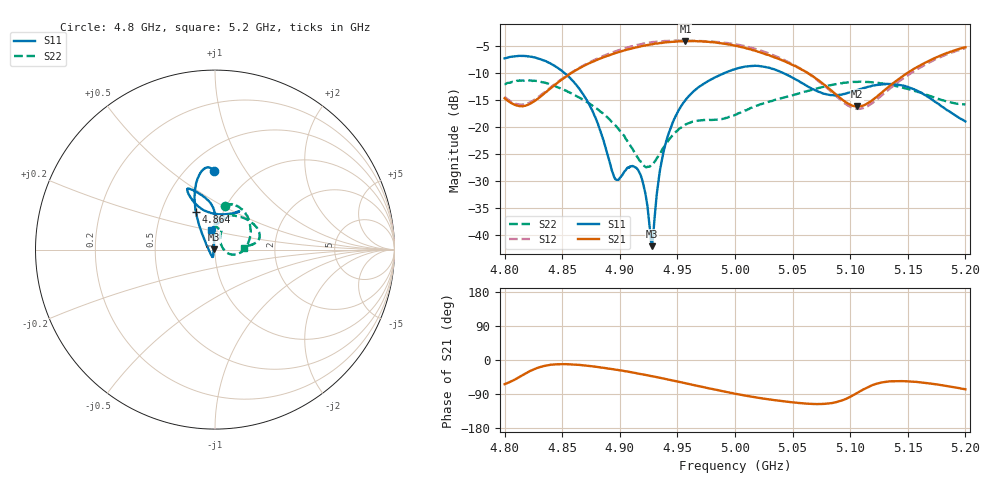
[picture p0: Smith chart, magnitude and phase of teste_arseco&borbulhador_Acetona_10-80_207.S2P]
! Network Analyzer HP8722D
! Hewlett-Packard
! Data name: Linha & Wilkinson
! Saver's name: Rodrigo Anjos
! Comments: Teste da utilização de aquisição
! continua pelo VNA HP8722D
! Time and date: 25/4/2025 16:59
!  Frequency  S11  S21  S12  S22
# HZ  S  MA R 50
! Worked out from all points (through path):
!   401 points, 4.8 GHz to 5.2 GHz, reference 50 ohm
!   highest |S21| = -3.99 dB at 4.957 GHz (marker M1); lowest = -16.1 dB at 5.106 GHz (marker M2)
!   lowest |S11| = -42.1 dB at 4.928 GHz (marker M3), VSWR 1.02, Z = 49.2 + j0.0776 ohm
!   |S11| at or under -10 dB: 4.852 GHz to 4.99 GHz (137.8 MHz wide, 2.8 % of centre); 5.043 GHz to end of sweep
!   |S22| runs from -27.5 to -11.3 dB; largest |S21 - S12| = 1.2
!   S11 on the Smith chart (normalised r, x): 4.8 GHz: 0.67, +0.72; 4.864 GHz: 0.75, +0.33; 5.2 GHz: 0.94, +0.21
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4.8e9  0.4354 91.0  0.1857 -63.8  0.1905 69.7  0.2509 77.0
4.82e9  0.455 97.1  0.1613 -32.3  0.1664 98.4  0.273 61.5
4.843e9  0.3743 106.6  0.2445 -11.9  0.2484 118.9  0.2434 36.9
4.864e9  0.2339 116.9  0.3485 -12.7  0.3519 121.1  0.1902 12.2
4.867e9  0.2108 118.7  0.3627 -13.8  0.3668 120.7  0.1829 8.9
4.88e9  0.1139 128.9  0.4218 -18.2  0.431 118.4  0.1488 -5.1
4.896e9  0.03299 -169.5  0.4879 -25.3  0.5067 113.4  0.1049 -15.3
4.909e9  0.04337 -110.0  0.5338 -32.1  0.5603 107.6  0.06768 -13.8
4.917e9  0.03781 -105.5  0.5603 -36.3  0.5867 103.6  0.04903 -0.5
4.921e9  0.02764 -109.6  0.5737 -38.7  0.5992 101.4  0.04385 12.4
4.926e9  0.01165 -135.5  0.5847 -41.6  0.6106 98.5  0.0429 32.9
4.928e9  0.007834 174.2  0.5891 -42.8  0.6158 97.1  0.04457 40.7
4.934e9  0.03415 101.0  0.6024 -46.6  0.6269 93.2  0.05564 57.8
4.943e9  0.09099 91.4  0.618 -52.3  0.6345 87.6  0.07743 68.1
4.957e9  0.1784 89.8  0.632 -61.2  0.6374 78.6  0.1058 70.8
5e9  0.3466 109.3  0.5723 -88.9  0.5902 51.0  0.1299 88.2
5.03e9  0.356 115.5  0.4655 -104.1  0.4801 33.9  0.1729 85.5
5.067e9  0.2274 105.6  0.301 -115.8  0.2976 23.6  0.2226 57.1
5.106e9  0.2209 65.3  0.1559 -87.0  0.1479 56.0  0.2634 24.9
5.134e9  0.2516 57.8  0.24 -56.4  0.2259 88.8  0.2483 12.4
5.169e9  0.187 70.5  0.4169 -61.9  0.4013 84.9  0.1951 6.9
5.2e9  0.1131 101.0  0.553 -77.3  0.5436 70.1  0.1619 3.8
